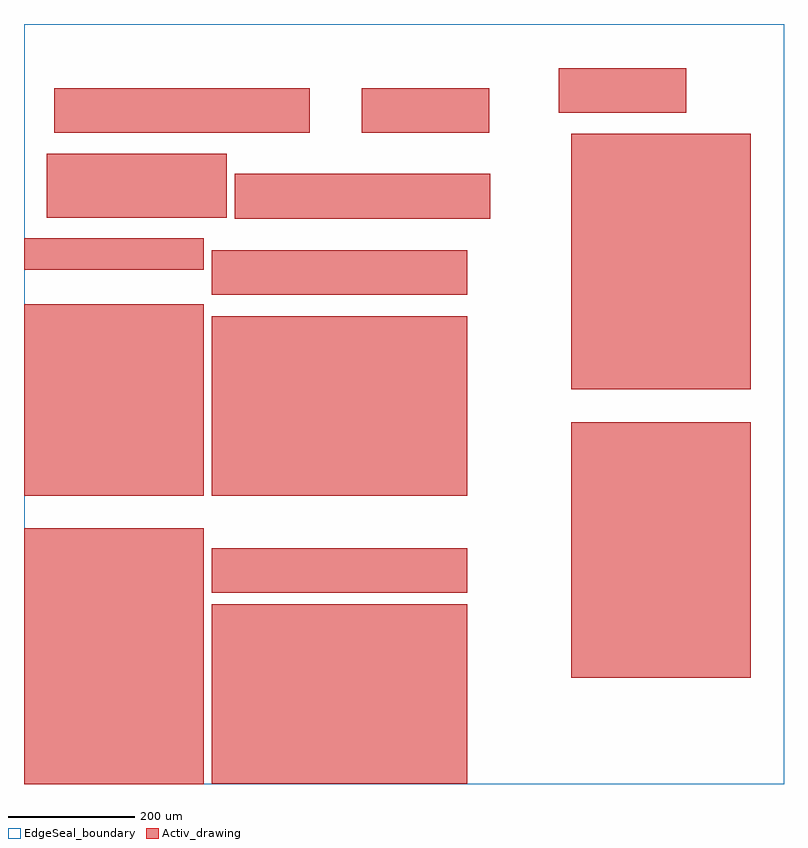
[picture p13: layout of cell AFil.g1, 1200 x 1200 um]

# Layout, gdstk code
import gdstk
lib = gdstk.Library(unit=1e-6, precision=1e-09)
def R(c, l, rs):  # rectangles x0, y0, x1, y1
    for r in rs: c.add(gdstk.rectangle(r[:2], r[2:], *l))
def A(c, l, x, y, w, h, nx, ny, dx, dy):  # array of equal rectangles
    R(c, l, [(x+i*dx, y+j*dy, x+i*dx+w, y+j*dy+h) for i in range(nx) for j in range(ny)])
Activ_drawing = (1, 0)
EdgeSeal_boundary = (39, 4)

afil_g1 = lib.new_cell('AFil.g1')
A(afil_g1, Activ_drawing, 0, 0, 35, 50, 8, 8, 35.5, 50.5)
A(afil_g1, Activ_drawing, 296.58, 0.03, 50, 35, 8, 8, 50.5, 35.5)
A(afil_g1, Activ_drawing, 863.895, 167.65, 35, 50, 8, 8, 35.5, 50.5)
A(afil_g1, Activ_drawing, 296.58, 301.62, 50, 35, 8, 2, 50.5, 35.5)
A(afil_g1, Activ_drawing, 0, 455.31, 35, 50, 8, 6, 35.5, 50.5)
A(afil_g1, Activ_drawing, 296.58, 455.34, 50, 35, 8, 8, 50.5, 35.5)
A(afil_g1, Activ_drawing, 863.895, 622.96, 35, 50, 8, 8, 35.5, 50.5)
A(afil_g1, Activ_drawing, 296.58, 772.635, 50, 35, 8, 2, 50.5, 35.5)
A(afil_g1, Activ_drawing, 0, 812.105, 35, 50, 8, 1, 35.5, 0)
A(afil_g1, Activ_drawing, 332.83, 892.86, 50, 35, 8, 2, 50.5, 35.5)
A(afil_g1, Activ_drawing, 36.25, 894.24, 35, 50, 8, 2, 35.5, 50.5)
A(afil_g1, Activ_drawing, 47.45, 1027.93, 50, 35, 8, 2, 50.5, 35.5)
A(afil_g1, Activ_drawing, 533.25, 1027.93, 50, 35, 4, 2, 50.5, 35.5)
A(afil_g1, Activ_drawing, 843.995, 1059.65, 50, 35, 4, 2, 50.5, 35.5)
R(afil_g1, EdgeSeal_boundary, [(0,0,1200,1200)])

lib.write_gds('AFil.g1.gds')
